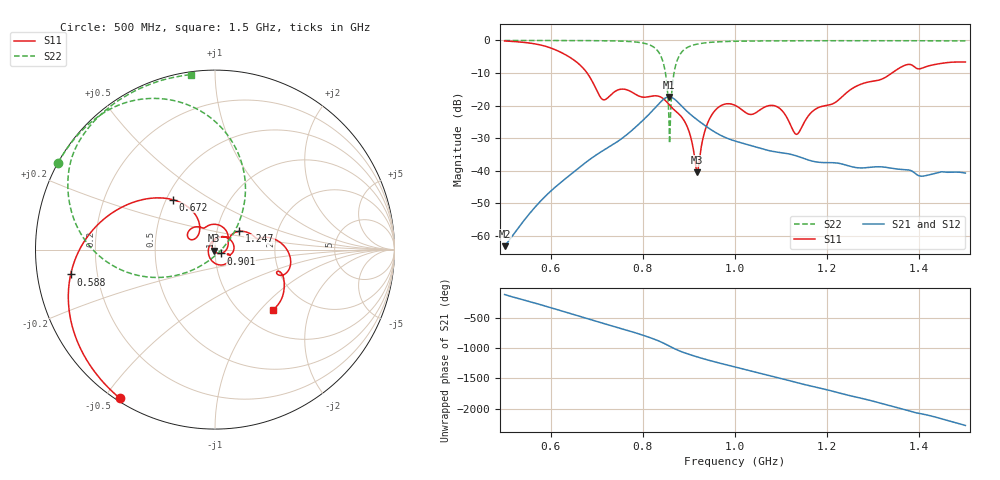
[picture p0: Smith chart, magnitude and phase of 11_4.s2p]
! TOUCHSTONE file generated by CST MICROWAVE STUDIO
! Date and time: Fri Oct  2 16:55:25 2020
! Project name: Scenario_1_Free_Space_out_of_line.cst
! Parameters = {Lambda=346.42; Step_1=17.321; dy1=174.23; dx1=693; L_HA=400; MT=2.54; Rad_Dielectric=30; Rad_Lower=7.3; Rad_Upper=30; a_HA=580; a_WG=246; b_HA=500; b_WG=121; c_HA=0; c_WG=187; d_feed=85; h_feed=15; h_lower=18; h_upper=40}
! Header version: 2018
! Port assignment regex: !\s*Touchstone port\s*([0-9]+)\s*=\s*(CST MWS port|CST DS port)\s*([0-9]+|Zmin|Zmax)\s*\(\"(.*)\"\)(\s*mode\s*([0-9]+))?.*
! Touchstone port assignment:
! Touchstone port 1 = CST MWS port 1 ("")
! Touchstone port 2 = CST MWS port 2 ("")
# GHz S DB R 50
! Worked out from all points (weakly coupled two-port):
!   1003 points, 500 MHz to 1.5 GHz, reference 50 ohm
!   highest |S21| = -17.32 dB at 857 MHz (marker M1); lowest = -63.2 dB at 500 MHz (marker M2)
!   lowest |S11| = -40.5 dB at 918 MHz (marker M3), VSWR 1.02, Z = 49.2 - j0.538 ohm
!   |S11| at or under -10 dB: 679 MHz to 1.341 GHz (661.5 MHz wide, 65.5 % of centre)
!   |S22| runs from -31.6 to 0.0 dB; largest |S21 - S12| = 5.8e-06
!   S11 on the Smith chart (normalised r, x): 500 MHz: 0.01, -0.55; 588 MHz: 0.10, -0.08; 672 MHz: 0.54, +0.35; 901 MHz: 1.07, -0.05; 1.247 GHz: 1.28, +0.27; 1.5 GHz: 1.36, -1.18
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0.5  -0.15 -122.7  -63.15 -122.9  -63.15 -122.9  -0.01 151.1
0.588  -1.77 -170.2  -47.88 48.4  -47.88 48.4  -0.02 145.0
0.667  -7.99 134.1  -38.46 -128.1  -38.46 -128.1  -0.04 138.3
0.672  -8.75 130.4  -37.91 -139.4  -37.91 -139.4  -0.05 137.8
0.714  -18.20 140.4  -33.78 124.2  -33.78 124.2  -0.10 133.0
0.788  -16.84 121.4  -26.13 -40.4  -26.13 -40.4  -0.53 117.6
0.834  -17.12 83.1  -19.56 -163.0  -19.56 -163.0  -3.52 85.8
0.847  -18.18 60.4  -17.84 152.0  -17.84 152.0  -8.44 63.3
0.857  -19.71 44.6  -17.32 113.2  -17.32 113.2  -26.05 15.7
0.861  -20.34 39.3  -17.41 97.5  -17.41 97.5  -19.74 -128.0
0.874  -22.05 21.8  -18.68 50.1  -18.68 50.1  -6.33 -163.8
0.901  -28.26 -33.8  -22.42 -25.9  -22.42 -25.9  -1.84 167.3
0.918  -40.45 -144.9  -24.37 -66.3  -24.37 -66.3  -1.13 158.7
0.949  -22.99 73.8  -27.49 -133.2  -27.49 -133.2  -0.55 149.3
1  -19.92 -7.7  -30.87 129.3  -30.87 129.3  -0.26 140.2
1.034  -22.72 -19.8  -32.26 63.9  -32.26 63.9  -0.19 136.1
1.09  -20.26 -59.4  -34.25 -41.1  -34.25 -41.1  -0.13 130.6
1.133  -28.82 170.0  -35.43 -125.5  -35.43 -125.5  -0.11 126.9
1.167  -21.92 63.9  -37.02 171.8  -37.02 171.8  -0.09 124.2
1.247  -15.49 37.2  -38.53 22.4  -38.53 22.4  -0.08 118.1
1.334  -10.64 13.5  -39.09 -142.8  -39.09 -142.8  -0.09 111.5
1.5  -6.61 -46.3  -40.71 -110.7  -40.71 -110.7  -0.14 97.9
